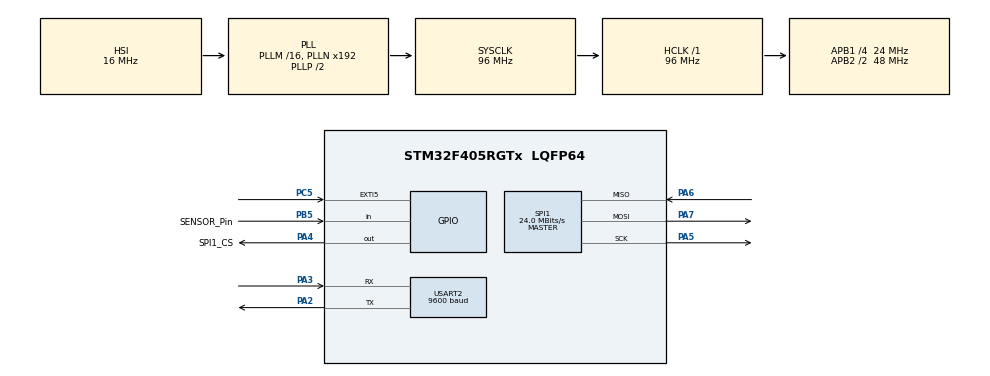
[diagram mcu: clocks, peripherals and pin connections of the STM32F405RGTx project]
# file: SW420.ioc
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Mcu.Family=STM32F4
Mcu.Name=STM32F405RGTx
Mcu.Package=LQFP64
NVIC.EXTI9_5_IRQn=true\:0\:0\:false\:false\:true\:true\:true\:true
NVIC.PriorityGroup=NVIC_PRIORITYGROUP_4
NVIC.SPI1_IRQn=true\:0\:0\:false\:false\:true\:true\:true\:true
NVIC.TIM3_IRQn=true\:15\:0\:false\:false\:true\:false\:true\:true
NVIC.TimeBase=TIM3_IRQn
NVIC.TimeBaseIP=TIM3
NVIC.USART2_IRQn=true\:0\:0\:false\:false\:true\:true\:true\:true
PA13.Mode=Serial_Wire
PA13.Signal=SYS_JTMS-SWDIO
PA14.Mode=Serial_Wire
PA14.Signal=SYS_JTCK-SWCLK
PA2.Mode=Asynchronous
PA2.Signal=USART2_TX
PA3.Mode=Asynchronous
PA3.Signal=USART2_RX
PA4.GPIO_Label=SPI1_CS
PA4.Signal=GPIO_Output
PA5.Mode=Full_Duplex_Master
PA5.Signal=SPI1_SCK
PA6.Mode=Full_Duplex_Master
PA6.Signal=SPI1_MISO
PA7.Mode=Full_Duplex_Master
PA7.Signal=SPI1_MOSI
PB5.GPIO_Label=SENSOR_Pin
PB5.GPIO_PuPd=GPIO_PULLDOWN
PB5.Signal=GPIO_Input
PC5.GPIO_ModeDefaultEXTI=GPIO_MODE_IT_FALLING
PC5.Signal=GPXTI5
ProjectManager.HeapSize=0x200
ProjectManager.StackSize=0x400
ProjectManager.TargetToolchain=STM32CubeIDE
RCC.AHBFreq_Value=96000000
RCC.APB1CLKDivider=RCC_HCLK_DIV4
RCC.APB1Freq_Value=24000000
RCC.APB1TimFreq_Value=48000000
RCC.APB2CLKDivider=RCC_HCLK_DIV2
RCC.APB2Freq_Value=48000000
RCC.APB2TimFreq_Value=96000000
RCC.CortexFreq_Value=96000000
RCC.HCLKFreq_Value=96000000
RCC.HSE_VALUE=25000000
RCC.HSI_VALUE=16000000
RCC.LSE_VALUE=32768
RCC.SYSCLKFreq_VALUE=96000000
RCC.SYSCLKSource=RCC_SYSCLKSOURCE_PLLCLK
RCC.VCOOutputFreq_Value=192000000
SPI1.CalculateBaudRate=24.0 MBits/s
SPI1.Direction=SPI_DIRECTION_2LINES
SPI1.Mode=SPI_MODE_MASTER
SPI1.VirtualType=VM_MASTER
TIM2.Prescaler=47
USART2.BaudRate=9600
USART2.VirtualMode=VM_ASYNC
VP_SYS_VS_tim3.Mode=TIM3
VP_TIM2_VS_ClockSourceINT.Mode=Internal
board=custom

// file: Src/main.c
/* USER CODE BEGIN Header */
/**
  ******************************************************************************
  * @file           : main.c
  * @brief          : Main program body
  ******************************************************************************
  * @attention
  *
  * Copyright (c) 2025 STMicroelectronics.
  * All rights reserved.
  *
  * This software is licensed under terms that can be found in the LICENSE file
  * in the root directory of this software component.
  * If no LICENSE file comes with this software, it is provided AS-IS.
  *
  ******************************************************************************
  */
/* USER CODE END Header */
#include "main.h"
#include "spi.h"
#include "tim.h"
#include "usart.h"
#include "gpio.h"

/* USER CODE BEGIN Includes */
#include "stm32f405xx.h"
#include "stm32f4xx_hal.h"
#include "FreeRTOS.h"
#include "task.h"
#include "lcd.h"
#include <stdbool.h>
#include <stdio.h>
#include "m95640_driver.h"
#include <string.h>
#include "semphr.h"
#include "stm32f405xx.h"
#include <stdint.h>
#include "queue.h"
#include <receiver.h>
/* USER CODE END Includes */

/* USER CODE BEGIN PTD */
#define AIN1_PIN    9   // PA9
#define AIN2_PIN    10  // PA10
extern UART_HandleTypeDef huart2;   // add this at top of main.c
/* ===== Sensor pins ===== */
#define VIBRATION_PORT   GPIOB
#define VIBRATION_PIN    GPIO_PIN_5    // SW420 DO -> PB5

#define IR_PORT          GPIOC
#define IR_PIN           13U           // IR DO -> PC13

/* ===== Thresholds ===== */
#define TEMP_THRESHOLD_C  30

/* ===== Shared flags ===== */
volatile bool engine_off = false;
volatile bool reason_temp = false;
volatile bool reason_vibration = false;
volatile bool reason_collision = false;
#define EEPROM_ADDRESS 0X0000
#define LED_GREEN_ON()   (GPIOC->ODR |=  (1U<<8))
#define LED_GREEN_OFF()  (GPIOC->ODR &= ~(1U<<8))
#define LED_RED_ON()     (GPIOC->ODR |=  (1U<<12))
#define LED_RED_OFF()    (GPIOC->ODR &= ~(1U<<12))

#define USERS_MAX              5
#define USER_SLOT_SIZE         8      // bytes reserved per user
#define USER_CODE_LEN          4
#define USER_SLOT_ADDR(uidx)   (0x0000 + ((uidx) * USER_SLOT_SIZE))

/* ========== IR Remote button addresses ========== */
#define IR_POWER    0x01FE48B7u
#define IR_STAR     0x01FE58A7u
#define IR_HASH     0x01FE7887u
#define IR_0        0x01FEE01Fu
#define IR_1        0x01FE50AFu
#define IR_2        0x01FED827u
#define IR_3        0x01FEF807u
#define IR_4        0x01FE30CFu
#define IR_5        0x01FEB04Fu
#define IR_6        0x01FE708Fu
#define IR_7        0x01FE00FFu
#define IR_8        0x01FEF00Fu
#define IR_9        0x01FE9867u
#define IR_A        0x01FE807Fu
#define IR_B        0x01FE40BFu
#define IR_C        0x01FEC03Fu
#define IR_D        0x01FE20DFu

/* USER CODE END PTD */

/* USER CODE BEGIN PM */
void motor_forward(void) {
    GPIOA->ODR |= (1 << AIN1_PIN);
    GPIOA->ODR &= ~(1 << AIN2_PIN);
}
void motor_stop(void) {
    GPIOA->ODR &= ~(1 << AIN1_PIN);
    GPIOA->ODR &= ~(1 << AIN2_PIN);
}
void init_motor_GPIO(void) {
    RCC->AHB1ENR |= RCC_AHB1ENR_GPIOAEN;
    GPIOA->MODER |= (1 << (AIN1_PIN * 2)) | (1 << (AIN2_PIN * 2));
    GPIOA->OTYPER &= ~((1 << AIN1_PIN) | (1 << AIN2_PIN));
    GPIOA->OSPEEDR |= (3 << (AIN1_PIN * 2)) | (3 << (AIN2_PIN * 2));
}

/* ===== ADC for Temperature (PC2 = ADC1_IN12) ===== */
volatile int temperature = 0;
uint16_t adc_value;
float voltage, t1;

void adc_init(void) {
    RCC->AHB1ENR |= RCC_AHB1ENR_GPIOCEN;
    GPIOC->MODER |= (3 << (2 * 2));   // PC2 analog

    RCC->APB2ENR |= RCC_APB2ENR_ADC1EN;
    ADC1->SQR3 = 12;                  // channel 12 = PC2
    ADC1->CR1 = 0;
    ADC1->CR2 |= ADC_CR2_CONT | ADC_CR2_ADON;
}
uint16_t adc_read(void) {
    ADC1->CR2 |= ADC_CR2_SWSTART;
    while (!(ADC1->SR & ADC_SR_EOC));
    return ADC1->DR;
}
void Task_Remote(void *params);
char IR_GetKey(void);
static char wait_key_blocking(void);

/* ===================== EEPROM Helpers ====================== */
static void EEPROM_ReadUserCode(uint8_t userIdx, char out[USER_CODE_LEN+1])
{
    uint32_t addr = USER_SLOT_ADDR(userIdx);
    uint8_t buf[USER_CODE_LEN];
    EepromReadBuffer_HAL(addr, buf, USER_CODE_LEN);
    for (int i=0;i<USER_CODE_LEN;i++) out[i] = (char)buf[i];
    out[USER_CODE_LEN] = '\0';
}

static void EEPROM_WriteUserCode(uint8_t userIdx, const char code[USER_CODE_LEN])
{
    uint32_t addr = USER_SLOT_ADDR(userIdx);
    EepromWriteBuffer_HAL(addr, (uint8_t*)code, USER_CODE_LEN);
}

/* If slot is blank (all 0xFF), default it to "1234" once */
static void EEPROM_EnsureDefaults(void)
{
    for (uint8_t u=0; u<USERS_MAX; u++)
    {
        uint8_t raw[USER_CODE_LEN];
        EepromReadBuffer_HAL(USER_SLOT_ADDR(u), raw, USER_CODE_LEN);
        bool blank = true;
        for (int i=0;i<USER_CODE_LEN;i++) if (raw[i] != 0xFF) { blank = false; break; }
        if (blank) {
            const char def[USER_CODE_LEN] = {'1','2','3','4'};
            EepromWriteBuffer_HAL(USER_SLOT_ADDR(u), (uint8_t*)def, USER_CODE_LEN);
            vTaskDelay(pdMS_TO_TICKS(5));
        }
    }
}

/* ===================== LCD Helpers ====================== */
static void LCD_Clear2(void)
{
    lprint(0x80, "                ");
    lprint(0xC0, "                ");
}

static void LCD_ShowTop(const char* s)
{
    char line[17] = "                ";
    strncpy(line, s, 16);
    lprint(0x80, line);
}

static void LCD_ShowBottom(const char* s)
{
    char line[17] = "                ";
    strncpy(line, s, 16);
    lprint(0xC0, line);
}

/* ===================== IR Keypad replacement ====================== */
char IR_GetKey(void)
{
    uint32_t code;
    if (HX1838_GetCode(&code, 200) == pdPASS) {
        switch (code) {
            case IR_POWER: return 'P';
            case IR_0: return '0';
            case IR_1: return '1';
            case IR_2: return '2';
            case IR_3: return '3';
            case IR_4: return '4';
            case IR_5: return '5';
            case IR_6: return '6';
            case IR_7: return '7';
            case IR_8: return '8';
            case IR_9: return '9';
            case IR_STAR: return '*';
            case IR_HASH: return '#';
            case IR_A: return 'A';
            case IR_B: return 'B';
            case IR_C: return 'C';
            case IR_D: return 'D';
            default: return 0;
        }
    }
    return 0;
}

static char wait_key_blocking(void)
{
    char k;
    do {
        k = IR_GetKey();
        vTaskDelay(pdMS_TO_TICKS(20));
    } while (k == 0);
    return k;
}

/* ===================== Input Helpers ====================== */
static uint8_t read_user_id(void)
{
    LCD_Clear2();
    LCD_ShowTop("EnterUserID 1-5:");
    LCD_ShowBottom("Then press #");

    char id_char = 0;
    while (1)
    {
        char k = wait_key_blocking();
        if (k >= '1' && k <= '5') {
            id_char = k;
            char msg[17] = "Selected: X     ";
            msg[10] = id_char;
            LCD_ShowBottom(msg);
        } else if (k == '#') {
            if (id_char >= '1' && id_char <= '5') {
                return (uint8_t)(id_char - '1');
            }
        } else if (k == '*') {
            return 0xFF;
        }
    }
}

static bool read_code_4(char out[USER_CODE_LEN])
{
    LCD_Clear2();
    LCD_ShowTop("Security Code:");
    char shown[17] = "Code:            ";
    uint8_t idx = 0;

    while (1)
    {
        char k = wait_key_blocking();
        if (k >= '0' && k <= '9') {
            if (idx < USER_CODE_LEN) {
                out[idx++] = k;
                int pos = 6 + idx - 1;
                if (pos >= 0 && pos < 16) shown[pos] = '*';
                LCD_ShowBottom(shown);
            }
        } else if (k == '#') {
            if (idx == USER_CODE_LEN) return true;
        } else if (k == '*') {
            return false;
        }
    }
}
/* USER CODE END PM */

void SystemClock_Config(void);

/* USER CODE BEGIN 0 */
void TempTask(void *argument) {
    for (;;) {
        adc_value = adc_read();
        voltage = (adc_value / 4095.0) * 3.3;
        t1 = -50.0 * voltage;
        temperature = (int)(t1 + 107.5);

        if (temperature > TEMP_THRESHOLD_C) {
            reason_temp = true;
        } else {
            reason_temp = false;
        }

        vTaskDelay(pdMS_TO_TICKS(500));
    }
}

/* ===== VibrationTask ===== */
void VibrationTask(void *argument) {
    uint8_t prev = HAL_GPIO_ReadPin(VIBRATION_PORT, VIBRATION_PIN);

    for (;;) {
        uint8_t now = HAL_GPIO_ReadPin(VIBRATION_PORT, VIBRATION_PIN);
        if (now != prev) {
            vTaskDelay(pdMS_TO_TICKS(30)); // debounce
            now = HAL_GPIO_ReadPin(VIBRATION_PORT, VIBRATION_PIN);
            if (now != prev) {
                prev = now;
                if (now == GPIO_PIN_SET) {
                    reason_vibration = true;
                    vTaskDelay(pdMS_TO_TICKS(10000));   // debounce
                } else {
                    reason_vibration = false;
                }

            }
        }
        vTaskDelay(pdMS_TO_TICKS(50));
    }
}

/* ===== CollisionTask ===== */
void CollisionTask(void *argument) {
    bool last_raw = 0;
    uint32_t stable_ms = 0;

    for (;;) {
        uint8_t raw = ((IR_PORT->IDR >> IR_PIN) & 0x1U) ? 0U : 1U; // 1=obstacle
        if (raw != last_raw) {
            last_raw = raw;
            stable_ms = 0;
        } else {
            if (stable_ms < 1000) stable_ms++;
        }
        if (stable_ms == 30) {
        	if (raw) {
        	    reason_collision = true;
        	} else {
        	    reason_collision = false;
        	}

        }
        vTaskDelay(pdMS_TO_TICKS(1));
    }
}

/* ===== EngineTask ===== */

void send_alert(const char *msg) {
    HAL_UART_Transmit(&huart2, (uint8_t *)msg, strlen(msg), HAL_MAX_DELAY);
    HAL_UART_Transmit(&huart2, (uint8_t *)"\r\n", 2, HAL_MAX_DELAY); // newline
}

void EngineTask(void *argument) {
    LcdInit();
    LcdFxn(0, 0x01);
    lprint(0x80, "System Ready");

    for (;;) {
        engine_off = reason_temp || reason_vibration || reason_collision;

        if (engine_off) {
            motor_stop();
            if (reason_temp) {
                lprint(0xC0, "Over Temp!      ");
                send_alert("ALERT: Over Temp!");
            }
            else if (reason_vibration) {
                lprint(0xC0, "Vibration!      ");
                send_alert("ALERT: Vibration detected!");
            }
            else if (reason_collision) {
                lprint(0xC0, "Collision!      ");
                send_alert("ALERT: Collision detected!");
            }
            else {
                lprint(0xC0, "Engine OFF      ");
                send_alert("ALERT: Engine OFF");
            }
        } else {
            motor_forward();
            lprint(0xC0, "Engine ON       ");
            send_alert("STATUS: Engine ON");
        }

        vTaskDelay(pdMS_TO_TICKS(2000)); // send every 2s
    }
}

void Task_Remote(void *params)
{
    EEPROM_EnsureDefaults();
    LCD_Clear2();
    LCD_ShowTop("Press Power");
    LED_GREEN_OFF();
    LED_RED_OFF();
    while (1) {
            if (IR_GetKey() == 'P') break;   // map Power to 'P' in IR_GetKey
            vTaskDelay(pdMS_TO_TICKS(50));
        }

        /* Once Power pressed, show Welcome */
        LCD_Clear2();
        LCD_ShowTop("Welcome");
    LCD_ShowBottom("Press * to start");
    while (1) {
        if (IR_GetKey() == '*') break;
        vTaskDelay(pdMS_TO_TICKS(50));
    }

    while (1)
    {
        LED_GREEN_OFF();
        LED_RED_OFF();

        /* --- User ID step --- */
        uint8_t userIdx;
        while (1) {
            userIdx = read_user_id();
            if (userIdx < USERS_MAX) break;
        }

        /* --- Security Code step --- */
        char entered[USER_CODE_LEN];
        if (!read_code_4(entered)) {
            continue;
        }

        char stored[USER_CODE_LEN+1];
        EEPROM_ReadUserCode(userIdx, stored);

        if (strncmp(entered, stored, USER_CODE_LEN) == 0) {
            LCD_Clear2();
            LCD_ShowTop("Access Granted");
            LED_GREEN_ON();
            vTaskDelay(pdMS_TO_TICKS(800));
            LED_GREEN_OFF();

            while (1) {
                LCD_Clear2();
                LCD_ShowTop("Menu:");
                LCD_ShowBottom("A=ChgPwd B=Enter");
                char k = wait_key_blocking();

                if (k == 'A') {
                    LCD_Clear2();
                    LCD_ShowTop("New Security Code:");
                    char newcode[USER_CODE_LEN];
                    if (read_code_4(newcode)) {
                        EEPROM_WriteUserCode(userIdx, newcode);
                        vTaskDelay(pdMS_TO_TICKS(10));
                        LCD_Clear2();
                        LCD_ShowTop("Password Changed!");
                        vTaskDelay(pdMS_TO_TICKS(1200));
                    }
                    break;
                }
                else if (k == 'B') {
                    LCD_Clear2();
                    LCD_ShowTop("Entering System...");
                    vTaskDelay(pdMS_TO_TICKS(1200));
                    xTaskCreate(TempTask, "Temp", 256, NULL, 1, NULL);
				  xTaskCreate(VibrationTask, "Vibe", 256, NULL, 1, NULL);
				  xTaskCreate(CollisionTask, "Collision", 256, NULL, 1, NULL);
				  xTaskCreate(EngineTask, "Engine", 256, NULL, 1, NULL);
				  vTaskDelete(NULL);

                }
            }
        } else {
            LCD_Clear2();
            LCD_ShowTop("Access Denied.");
            LCD_ShowBottom("Try Again!");
            LED_RED_ON();
            vTaskDelay(pdMS_TO_TICKS(1200));
            LED_RED_OFF();
        }
    }
}

/* USER CODE END 0 */

int main(void)
{

  /* MCU Configuration--------------------------------------------------------*/

  /* Reset of all peripherals, Initializes the Flash interface and the Systick. */
  HAL_Init();

  /* Configure the system clock */
  SystemClock_Config();

  /* Initialize all configured peripherals */
  MX_GPIO_Init();
  MX_USART2_UART_Init();
  MX_SPI1_Init();
  MX_TIM2_Init();
  /* USER CODE BEGIN 2 */
  SpiEepromInit_HAL();
  adc_init();
  LcdInit();
     init_motor_GPIO();
      HX1838_Init(&htim2, GPIO_PIN_5);   // configure IR pin

      xTaskCreate(Task_Remote, "Remote", 256, NULL, 2, NULL);

//      xTaskCreate(TempTask, "Temp", 256, NULL, 1, NULL);
//      xTaskCreate(VibrationTask, "Vibe", 256, NULL, 1, NULL);
//      xTaskCreate(CollisionTask, "Collision", 256, NULL, 1, NULL);
//      xTaskCreate(EngineTask, "Engine", 256, NULL, 1, NULL);

      vTaskStartScheduler();

  /* USER CODE END 2 */

  /* Infinite loop */
  while (1)
  {

  }
}

void SystemClock_Config(void)
{
  RCC_OscInitTypeDef RCC_OscInitStruct = {0};
  RCC_ClkInitTypeDef RCC_ClkInitStruct = {0};

  /** Configure the main internal regulator output voltage
  */
  __HAL_RCC_PWR_CLK_ENABLE();
  __HAL_PWR_VOLTAGESCALING_CONFIG(PWR_REGULATOR_VOLTAGE_SCALE1);

  /** Initializes the RCC Oscillators according to the specified parameters
  * in the RCC_OscInitTypeDef structure.
  */
  RCC_OscInitStruct.OscillatorType = RCC_OSCILLATORTYPE_HSI;
  RCC_OscInitStruct.HSIState = RCC_HSI_ON;
  RCC_OscInitStruct.HSICalibrationValue = RCC_HSICALIBRATION_DEFAULT;
  RCC_OscInitStruct.PLL.PLLState = RCC_PLL_ON;
  RCC_OscInitStruct.PLL.PLLSource = RCC_PLLSOURCE_HSI;
  RCC_OscInitStruct.PLL.PLLM = 16;
  RCC_OscInitStruct.PLL.PLLN = 192;
  RCC_OscInitStruct.PLL.PLLP = RCC_PLLP_DIV2;
  RCC_OscInitStruct.PLL.PLLQ = 4;
  if (HAL_RCC_OscConfig(&RCC_OscInitStruct) != HAL_OK)
  {
    Error_Handler();
  }

  /** Initializes the CPU, AHB and APB buses clocks
  */
  RCC_ClkInitStruct.ClockType = RCC_CLOCKTYPE_HCLK|RCC_CLOCKTYPE_SYSCLK
                              |RCC_CLOCKTYPE_PCLK1|RCC_CLOCKTYPE_PCLK2;
  RCC_ClkInitStruct.SYSCLKSource = RCC_SYSCLKSOURCE_PLLCLK;
  RCC_ClkInitStruct.AHBCLKDivider = RCC_SYSCLK_DIV1;
  RCC_ClkInitStruct.APB1CLKDivider = RCC_HCLK_DIV4;
  RCC_ClkInitStruct.APB2CLKDivider = RCC_HCLK_DIV2;

  if (HAL_RCC_ClockConfig(&RCC_ClkInitStruct, FLASH_LATENCY_3) != HAL_OK)
  {
    Error_Handler();
  }
}

void HAL_TIM_PeriodElapsedCallback(TIM_HandleTypeDef *htim)
{
  if (htim->Instance == TIM3) {
    HAL_IncTick();
  }
}

void Error_Handler(void)
{
  __disable_irq();
  while (1)
  {
  }
}
